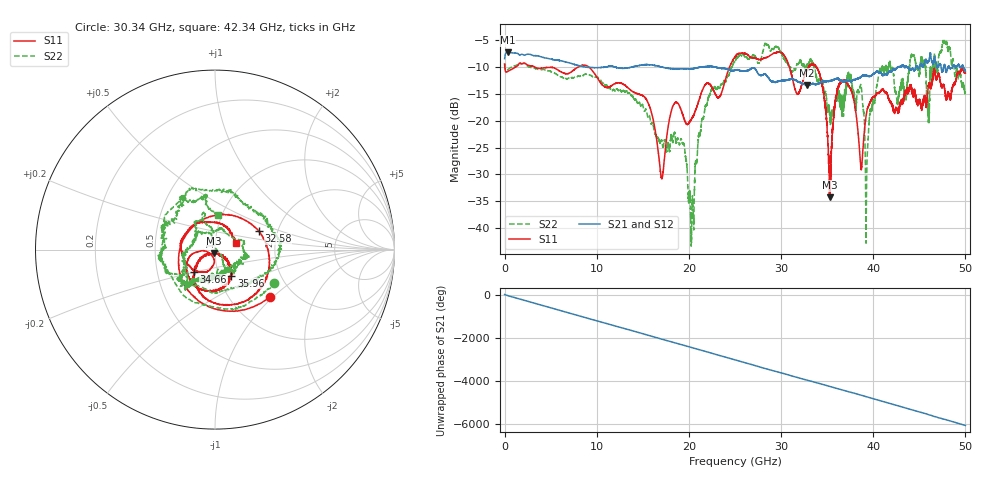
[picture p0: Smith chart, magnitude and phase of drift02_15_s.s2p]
!Created with skrf (http://scikit-rf.org).
# Hz S RI R 50.0
!freq ReS11 ImS11 ReS21 ImS21 ReS12 ImS12 ReS22 ImS22
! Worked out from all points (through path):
!   10001 points, 300 kHz to 50 GHz, reference 50 ohm
!   highest |S21| = -7.32 dB at 325.3 MHz (marker M1); lowest = -13.4 dB at 32.76 GHz (marker M2)
!   group delay of S21, straight-line fit = 335 ps
!   lowest |S11| = -34.2 dB at 35.28 GHz (marker M3), VSWR 1.04, Z = 49.3 - j1.79 ohm
!   |S11| at or under -10 dB: 3.242 GHz to 8.003 GHz (4.761 GHz wide, 84.7 % of centre); 9.106 GHz to 24.41 GHz (15.31 GHz wide, 91.3 % of centre); 33.83 GHz to end of sweep (the widest 3 of 10)
!   |S22| runs from -43.3 to -5.1 dB; largest |S21 - S12| = 0.016
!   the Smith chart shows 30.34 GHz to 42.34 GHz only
!   S11 on the Smith chart (normalised r, x): 30.34 GHz: 1.52, -0.95; 32.58 GHz: 1.59, +0.36; 34.66 GHz: 0.77, -0.20; 35.96 GHz: 1.15, -0.34; 42.34 GHz: 1.26, +0.10
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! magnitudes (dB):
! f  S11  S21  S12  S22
! 300 kHz  -9.5  -8.5  -8.5  -9.4
! 325.3 MHz  -10.9  -7.3  -7.3  -10.6
! 8.335 GHz  -9.8  -9.9  -9.9  -11.6
! 16.67 GHz  -25.9  -9.9  -9.9  -23.2
! 19.32 GHz  -18.8  -10.4  -10.4  -24.3
! 20.35 GHz  -19.4  -10.3  -10.3  -35.3
! 21.94 GHz  -13.1  -9.9  -10.0  -17.0
! 25 GHz  -8.1  -10.6  -10.7  -9.0
! 30.34 GHz  -7.9  -12.5  -12.6  -8.5
! 32.58 GHz  -11.5  -13.2  -13.3  -10.2
! 32.76 GHz  -10.8  -13.4  -13.5  -9.6
! 33.34 GHz  -9.5  -13.1  -13.2  -9.0
! 34.66 GHz  -15.4  -12.8  -12.8  -14.4
! 35.28 GHz  -34.2  -12.6  -12.6  -19.0
! 35.96 GHz  -15.4  -12.3  -12.3  -15.6
! 37.52 GHz  -14.0  -12.7  -12.7  -11.6
! 38.56 GHz  -26.5  -12.0  -12.0  -13.9
! 39.3 GHz  -18.3  -11.6  -11.7  -29.3
! 41.67 GHz  -15.9  -11.0  -11.1  -9.8
! 42.34 GHz  -18.1  -10.5  -10.5  -14.3
! 47.76 GHz  -14.3  -9.8  -9.7  -5.3
! 50 GHz  -11.2  -10.9  -10.9  -14.7
